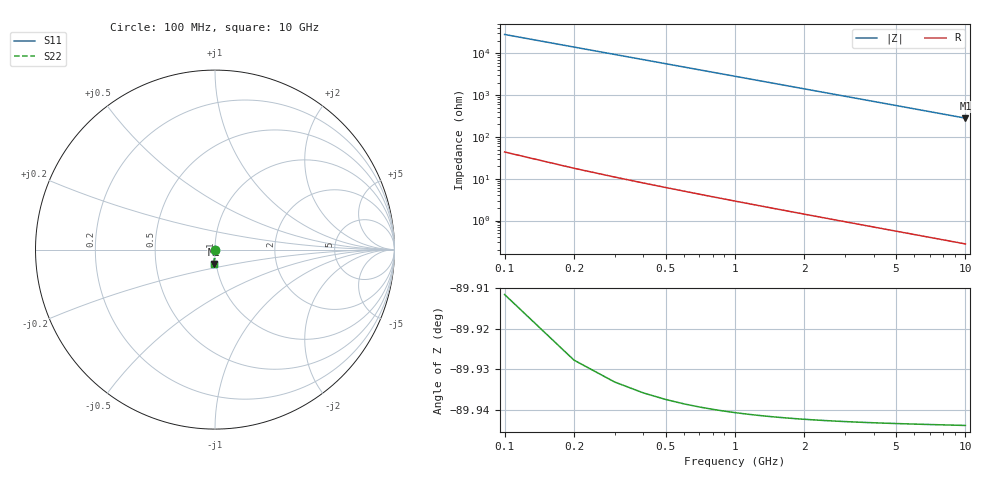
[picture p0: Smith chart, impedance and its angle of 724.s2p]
# Hz S RI R 50.00
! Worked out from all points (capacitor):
!   100 points, 100 MHz to 10 GHz, reference 50 ohm
!   read as one part in shunt: C = 56.2 fF near 100 MHz
!   lowest |Z| = 282 ohm at 10 GHz (marker M1)
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1e8  7.22e-05 -0.000803  0.9999 -0.000964  0.9999 -0.000964  7.22e-05 -0.000803
2e8  6.95e-05 -0.00161  0.9999 -0.00193  0.9999 -0.00193  6.95e-05 -0.00161
3e8  6.52e-05 -0.00241  0.9999 -0.00289  0.9999 -0.00289  6.52e-05 -0.00241
4e8  5.92e-05 -0.00321  0.9999 -0.00385  0.9999 -0.00385  5.92e-05 -0.00321
5e8  5.16e-05 -0.00401  0.9999 -0.00482  0.9999 -0.00482  5.16e-05 -0.00401
6e8  4.25e-05 -0.00482  0.9999 -0.00578  0.9999 -0.00578  4.25e-05 -0.00482
7e8  3.18e-05 -0.00562  0.9999 -0.00675  0.9999 -0.00675  3.18e-05 -0.00562
8e8  1.95e-05 -0.00642  0.9999 -0.00771  0.9999 -0.00771  1.95e-05 -0.00642
9e8  5.68e-06 -0.00723  0.9999 -0.00867  0.9999 -0.00867  5.68e-06 -0.00723
1.1e9  -2.67e-05 -0.00883  0.9998 -0.0106  0.9998 -0.0106  -2.67e-05 -0.00883
1.4e9  -8.68e-05 -0.0112  0.9998 -0.0135  0.9998 -0.0135  -8.68e-05 -0.0112
1.8e9  -0.000189 -0.0145  0.9997 -0.0173  0.9997 -0.0173  -0.000189 -0.0145
2.1e9  -0.000282 -0.0169  0.9996 -0.0202  0.9996 -0.0202  -0.000282 -0.0169
2.5e9  -0.000427 -0.0201  0.9994 -0.0241  0.9994 -0.0241  -0.000427 -0.0201
2.9e9  -0.000597 -0.0233  0.9992 -0.0279  0.9992 -0.0279  -0.000597 -0.0233
3.4e9  -0.000845 -0.0273  0.999 -0.0328  0.999 -0.0328  -0.000845 -0.0273
4.2e9  -0.00132 -0.0337  0.9985 -0.0405  0.9985 -0.0405  -0.00132 -0.0337
5.1e9  -0.00198 -0.0409  0.9978 -0.0491  0.9978 -0.0491  -0.00198 -0.0409
5.9e9  -0.00267 -0.0473  0.9971 -0.0568  0.9971 -0.0568  -0.00267 -0.0473
6.7e9  -0.00345 -0.0537  0.9963 -0.0645  0.9963 -0.0645  -0.00345 -0.0537
8.4e9  -0.00545 -0.0673  0.9943 -0.0808  0.9943 -0.0808  -0.00545 -0.0673
1e10  -0.00774 -0.0799  0.992 -0.0961  0.992 -0.0961  -0.00774 -0.0799
